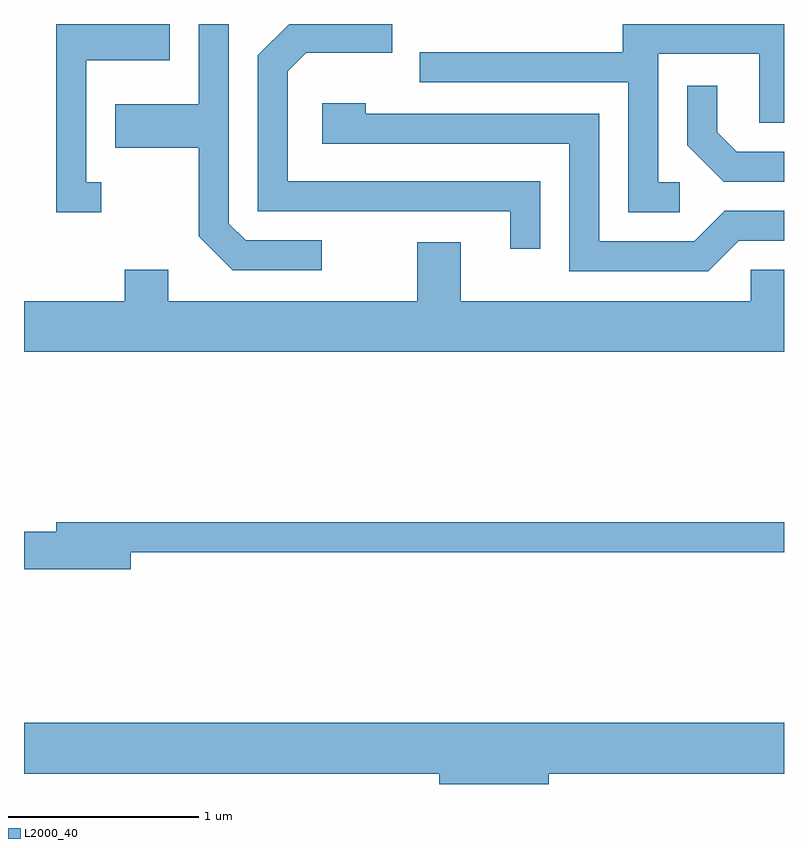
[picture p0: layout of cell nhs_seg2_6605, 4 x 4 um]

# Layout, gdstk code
import gdstk
lib = gdstk.Library(unit=1e-6, precision=1e-09)
def P(c, l, *ps):  # polygons
    for p in ps: c.add(gdstk.Polygon(p, *l))
L2000_40 = (2000, 40)

nhs_seg2_6605 = lib.new_cell('nhs_seg2_6605')
P(nhs_seg2_6605, L2000_40, [(383.063,1066.969),(382.949,1066.969),(382.949,1067.646),(383.481,1067.646),(383.481,1067.281),(383.611,1067.281),(383.611,1067.802),(382.761,1067.802),(382.761,1067.654),(381.693,1067.654),(381.693,1067.496),(382.791,1067.496),(382.791,1066.811),(383.063,1066.811)],
  [(380.018,1066.969),(379.939,1066.969),(379.939,1067.611),(380.379,1067.611),(380.379,1067.802),(379.781,1067.802),(379.781,1066.811),(380.018,1066.811)],
  [(382.329,1066.974),(380.999,1066.974),(380.999,1067.554),(381.097,1067.651),(381.549,1067.651),(381.549,1067.802),(381.007,1067.802),(380.841,1067.637),(380.841,1066.816),(382.171,1066.816),(382.171,1066.618),(382.329,1066.618)],
  [(381.178,1066.664),(380.777,1066.664),(380.689,1066.752),(380.689,1067.802),(380.531,1067.802),(380.531,1067.379),(380.091,1067.379),(380.091,1067.151),(380.531,1067.151),(380.531,1066.684),(380.709,1066.506),(381.178,1066.506)],
  [(383.611,1067.129),(383.362,1067.129),(383.259,1067.232),(383.259,1067.478),(383.101,1067.478),(383.101,1067.164),(383.294,1066.971),(383.611,1066.971)],
  [(383.372,1066.661),(383.611,1066.661),(383.611,1066.819),(383.299,1066.819),(383.139,1066.659),(382.639,1066.659),(382.639,1067.329),(381.409,1067.329),(381.409,1067.384),(381.181,1067.384),(381.181,1067.171),(382.481,1067.171),(382.481,1066.501),(383.212,1066.501)],
  [(383.611,1066.509),(383.436,1066.509),(383.436,1066.344),(381.909,1066.344),(381.909,1066.654),(381.681,1066.654),(381.681,1066.344),(380.369,1066.344),(380.369,1066.509),(380.141,1066.509),(380.141,1066.344),(379.611,1066.344),(379.611,1066.076),(383.611,1066.076)],
  [(380.174,1065.021),(383.611,1065.021),(383.611,1065.179),(379.781,1065.179),(379.781,1065.129),(379.611,1065.129),(379.611,1064.931),(380.174,1064.931)],
  [(382.374,1063.856),(383.611,1063.856),(383.611,1064.124),(379.611,1064.124),(379.611,1063.856),(381.796,1063.856),(381.796,1063.802),(382.374,1063.802)])

lib.write_gds('nhs_seg2_6605.gds')
